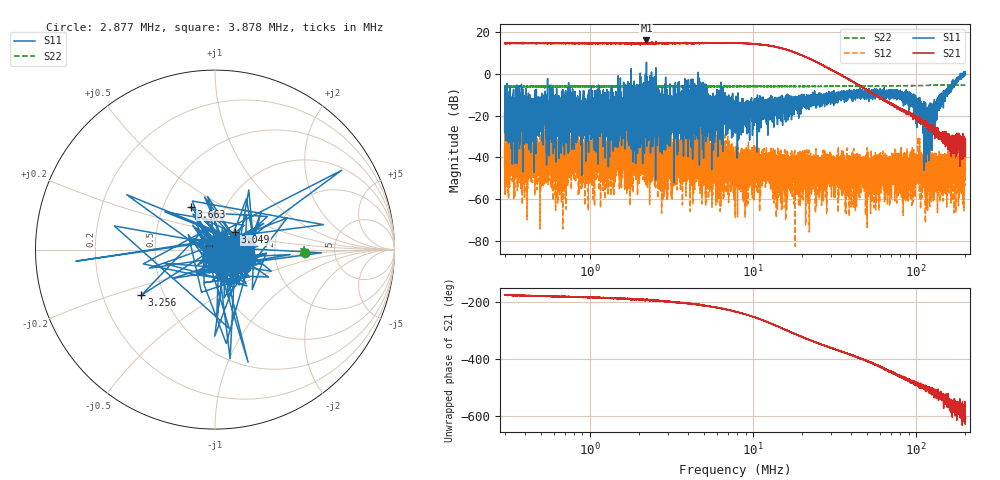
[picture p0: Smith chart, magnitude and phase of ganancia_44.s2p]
# Hz S DB R 50
! CMT, M5065, 19127446, 24.2.4/2
! Date: 11/1/2024 3:39:16 PM
! Data: Format (Calibration Info)
! Freq	S11:dB/Ang(F2)	S21:dB/Ang(F2)	S12:dB/Ang(F2)	S22:dB/Ang(F2)
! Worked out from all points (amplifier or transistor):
!   9000 points, 300 kHz to 200 MHz, reference 50 ohm
!   highest |S21| = 16.0 dB at 2.22 MHz (marker M1)
!   |S21| within 3 dB of that: start of sweep to 13.53 MHz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
!   unconditionally stable (mu >= 1): 5.152 MHz to 185.7 MHz; 185.9 MHz to 187.8 MHz; 191.3 MHz to 193.5 MHz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
!   at 886.8 kHz: K = 5.87, MAG = 16.0 dB, |S12| = -38.6 dB
!   at 7.749 MHz: K = 14.10, MAG = 16.0 dB, |S12| = -46.3 dB
!   at 200 MHz: K = 274.43, MAG = -21.2 dB, |S12| = -44.3 dB
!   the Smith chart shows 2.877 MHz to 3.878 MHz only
!   S11 on the Smith chart (normalised r, x): 2.877 MHz: 1.38, -0.30; 3.049 MHz: 1.23, +0.24; 3.256 MHz: 0.37, -0.25; 3.663 MHz: 0.69, +0.35; 3.878 MHz: 1.07, -0.20
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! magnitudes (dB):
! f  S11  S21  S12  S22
! 300 kHz  -18.6  14.7  -44.2  -6.0
! 325.3 kHz  -14.7  14.7  -42.9  -6.0
! 886.8 kHz  -20.1  14.7  -38.6  -5.9
! 1.242 MHz  -20.7  14.6  -35.6  -6.1
! 1.308 MHz  -19.3  14.6  -54.7  -6.1
! 2.22 MHz  5.6  16.0  -35.9  -6.0
! 2.621 MHz  -15.4  14.7  -41.9  -6.0
! 2.877 MHz  -13.9  14.6  -38.1  -6.0
! 3.049 MHz  -16.5  14.6  -39.3  -6.0
! 3.256 MHz  -6.3  15.1  -35.0  -6.1
! 3.663 MHz  -11.3  14.7  -36.7  -6.1
! 3.878 MHz  -19.9  14.8  -43.4  -6.0
! 7.749 MHz  -24.8  14.7  -46.3  -6.0
! 13.51 MHz  -13.9  13.2  -50.8  -6.0
! 22.91 MHz  -12.3  6.8  -41.6  -5.9
! 67.71 MHz  -10.6  -13.6  -45.0  -5.7
! 74.32 MHz  -8.9  -15.7  -40.6  -5.7
! 91.32 MHz  -8.8  -19.3  -41.3  -5.7
! 102.1 MHz  -17.8  -21.8  -42.5  -5.6
! 120.2 MHz  -41.0  -25.2  -44.2  -5.5
! 143 MHz  -11.4  -29.2  -40.3  -5.3
! 200 MHz  -0.6  -31.9  -44.3  -5.4
